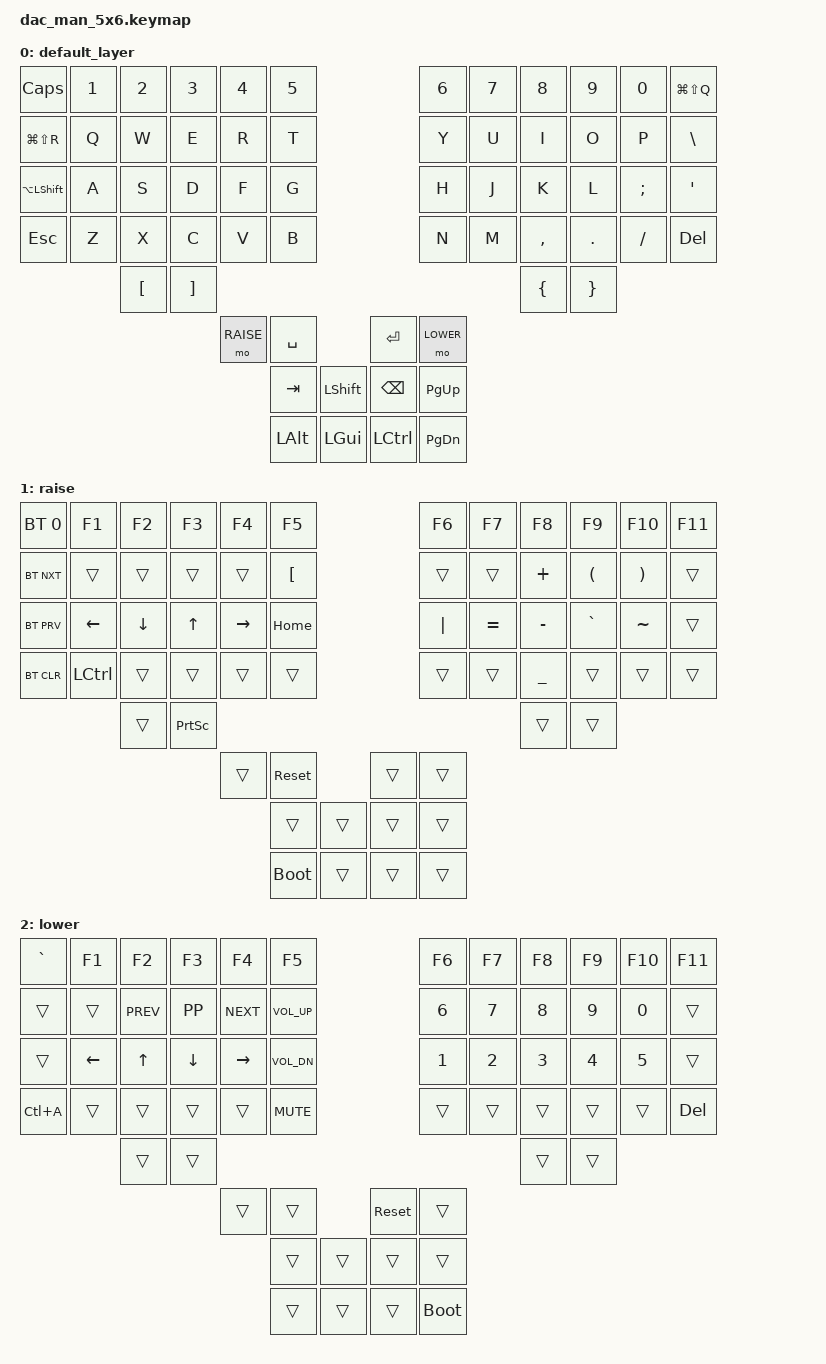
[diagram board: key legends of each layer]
#include <behaviors.dtsi>
#include <dt-bindings/zmk/keys.h>
#include <dt-bindings/zmk/bt.h>


#define DEFAULT 0
#define RAISE   1
#define LOWER   2

/ {
    keymap {
        compatible = "zmk,keymap";

        default_layer {

            bindings = <
&kp CAPS   &kp N1     &kp N2    &kp N3     &kp N4     &kp N5                          &kp N6     &kp N7     &kp N8     &kp N9     &kp N0         &kp LG(LS(Q))
&kp LG(LS(R)) &kp Q   &kp W     &kp E      &kp R      &kp T                           &kp Y      &kp U      &kp I      &kp O      &kp P          &kp BSLH
&kp LA(LSHIFT) &kp A  &kp S     &kp D      &kp F      &kp G                           &kp H      &kp J      &kp K      &kp L      &kp SEMI       &kp SQT
&kp ESC    &kp Z      &kp X     &kp C      &kp V      &kp B                           &kp N      &kp M      &kp COMMA  &kp DOT    &kp FSLH       &kp DEL
                      &kp LBKT  &kp RBKT                                                                    &kp LBRC   &kp RBRC
                                          &mo RAISE  &kp SPACE                &kp ENTER   &mo LOWER
                                                      &kp TAB &kp LSHIFT     &kp BSPC    &kp PG_UP
                                                      &kp LALT &kp LGUI      &kp LCTRL   &kp PG_DN
            >;
        };

        raise {

            bindings = <
&bt BT_SEL 0 &kp F1     &kp F2    &kp F3     &kp F4     &kp F5                       &kp F6        &kp F7     &kp F8     &kp F9     &kp F10        &kp F11
&bt BT_NXT   &trans     &trans    &trans     &trans     &kp LBKT                     &trans        &trans     &kp PLUS   &kp LEFT_PARENTHESIS &kp RIGHT_PARENTHESIS &trans
&bt BT_PRV   &kp LEFT   &kp DOWN  &kp UP     &kp RIGHT  &kp HOME                     &kp PIPE      &kp EQUAL  &kp MINUS  &kp GRAVE  &kp TILDE      &trans
&bt BT_CLR   &kp LCTRL  &trans    &trans     &trans     &trans                       &trans        &trans     &kp UNDERSCORE  &trans  &trans       &trans
                        &trans    &kp PSCRN                                                                   &trans     &trans
                                             &trans     &sys_reset                      &trans &trans
                                                        &trans &trans            &trans &trans
                                                        &bootloader &trans       &trans &trans
            >;
        };

        lower {

            bindings = <
&kp GRAVE  &kp F1     &kp F2     &kp F3     &kp F4     &kp F5                          &kp F6     &kp F7     &kp F8     &kp F9     &kp F10     &kp F11
&trans     &trans     &kp K_PREV &kp K_PP   &kp K_NEXT &kp C_VOL_UP                    &kp N6     &kp N7     &kp N8     &kp N9     &kp N0      &trans
&trans     &kp LEFT   &kp UP     &kp DOWN   &kp RIGHT  &kp C_VOL_DN                    &kp N1     &kp N2     &kp N3     &kp N4     &kp N5      &trans
&kp LC(A)  &trans     &trans     &trans     &trans     &kp C_MUTE                      &trans     &trans     &trans     &trans     &trans      &kp DEL
                      &trans     &trans                                                                      &trans     &trans
                                            &trans &trans                                  &sys_reset   &trans
                                                      &trans &trans             &trans  &trans
                                                      &trans &trans             &trans  &bootloader
            >;
        };
   };
};

